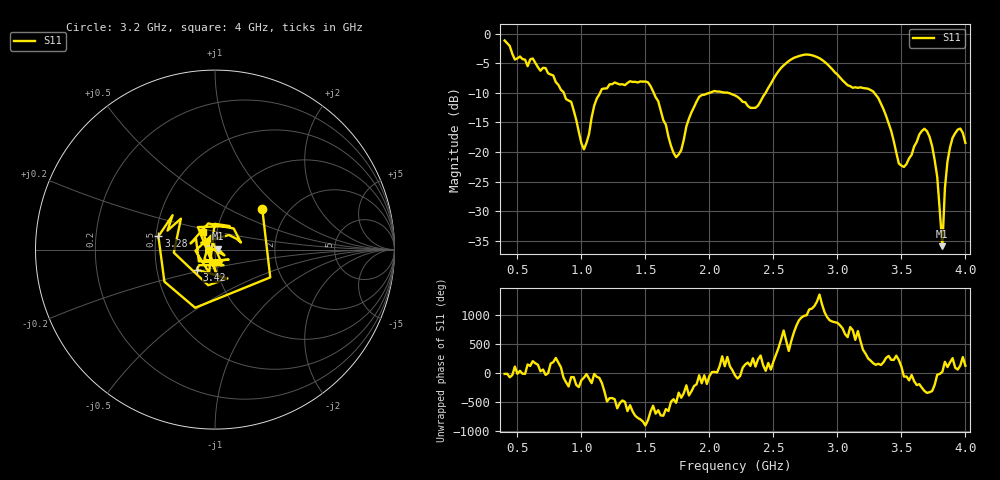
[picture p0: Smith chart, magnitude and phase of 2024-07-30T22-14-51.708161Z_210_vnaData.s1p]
!Created with skrf (http://scikit-rf.org).
# Hz S RI R 50.0
!freq ReS11 ImS11
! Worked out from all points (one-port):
!   181 points, 400 MHz to 4 GHz, reference 50 ohm
!   lowest |S11| = -35.9 dB at 3.82 GHz (marker M1), VSWR 1.03, Z = 51.5 + j0.528 ohm
!   |S11| at or under -10 dB: 862.1 MHz to 1.146 GHz (284.1 MHz wide, 28.3 % of centre); 1.565 GHz to 2.003 GHz (437.8 MHz wide, 24.5 % of centre); 3.288 GHz to end of sweep (the widest 3 of 4)
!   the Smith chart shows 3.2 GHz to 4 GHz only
!   S11 on the Smith chart (normalised r, x): 3.2 GHz: 1.48, +0.76; 3.28 GHz: 0.52, +0.09; 3.42 GHz: 0.80, -0.18; 4 GHz: 0.86, +0.17
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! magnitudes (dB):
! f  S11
! 400 MHz  -1.2
! 860 MHz  -9.9
! 920 MHz  -11.5
! 1.02 GHz  -19.6
! 1.16 GHz  -9.4
! 1.3 GHz  -8.6
! 1.52 GHz  -8.2
! 1.72 GHz  -20.2
! 1.76 GHz  -20.4
! 1.92 GHz  -10.7
! 2.2 GHz  -10.4
! 2.36 GHz  -12.5
! 2.66 GHz  -4.1
! 2.86 GHz  -4.2
! 3.1 GHz  -8.9
! 3.2 GHz  -9.2
! 3.28 GHz  -9.8
! 3.42 GHz  -16.4
! 3.48 GHz  -22.0
! 3.56 GHz  -21.1
! 3.66 GHz  -16.4
! 3.72 GHz  -17.4
! 3.78 GHz  -24.2
! 3.82 GHz  -35.9
! 3.84 GHz  -26.1
! 3.88 GHz  -19.2
! 3.96 GHz  -16.0
! 4 GHz  -18.5
